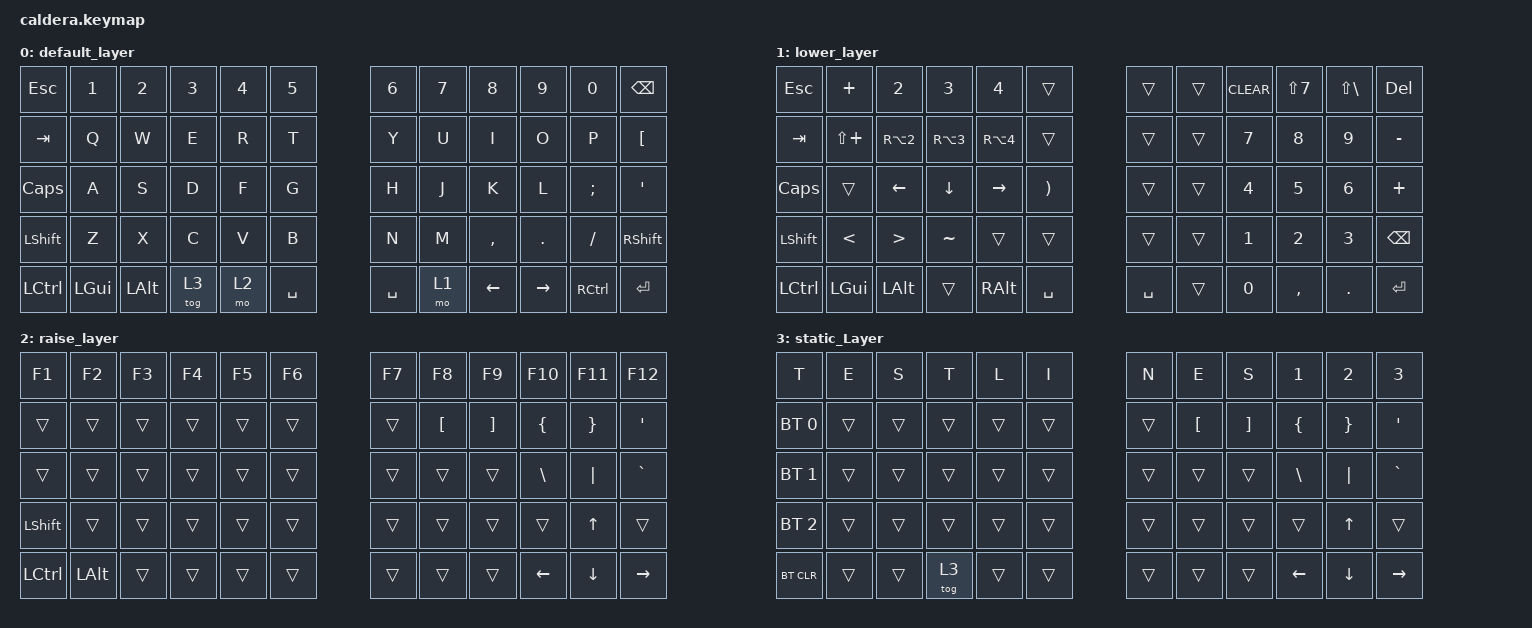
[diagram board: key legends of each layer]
#include <behaviors.dtsi>
#include <dt-bindings/zmk/keys.h>
#include <dt-bindings/zmk/bt.h>

/ {
        keymap {
                compatible = "zmk,keymap";

                default_layer {
// ---------------------------------------------------------------------------------
// |   `  |  1  |  2  |  3  |  4  |  5  |     |  6  |  7  |  8  |  9  |  0  | BKSP |
// |  TAB |  Q  |  W  |  E  |  R  |  T  |     |  Y  |  U  |  I  |  O  |  P  |  \   |
// | CAPS |  A  |  S  |  D  |  F  |  G  |     |  H  |  J  |  K  |  L  |  ;  |  ENT |
// | SHFT |  Z  |  X  |  C  |  V  |  B  |     |  N  |  M  |  ,  |  .  |  /  | APOS |
// | CTRL | GUI | ALT | Lay3| Lay2| SPC |     | SPC | LOW |LARW |DARW |UARW | RARW |
                        bindings = <
   &kp ESC    &kp N1    &kp N2    &kp N3     &kp N4     &kp N5               &kp N6     &kp N7  &kp N8     &kp N9    &kp N0    &kp BSPC
   &kp TAB    &kp Q     &kp W     &kp E      &kp R      &kp T                &kp Y      &kp U   &kp I      &kp O     &kp P     &kp LBKT
   &kp CAPS   &kp A     &kp S     &kp D      &kp F      &kp G                &kp H      &kp J   &kp K      &kp L     &kp SEMI  &kp APOS
   &kp LSHFT  &kp Z     &kp X     &kp C      &kp V      &kp B                &kp N      &kp M   &kp COMMA  &kp DOT   &kp FSLH  &kp RSHFT
   &kp LCTRL  &kp LGUI  &kp LALT  &tog 3     &mo 2      &kp SPACE           &kp SPACE  &mo 1   &kp LEFT   &kp RIGHT &kp RCTRL &kp RET
                        >;
                };
                lower_layer {
// ------------------------------------------------------------------------------------------------------------
// | ESC   |  +    |   2   |   £   |  $    |       |          |      |        | CLEAR |   /   |   *   | DELETE|
// | BT1   |  ?    |   @   |  UP   |       |       |          |      |        |   7   |   8   |   9   |   -   |
// | BT2   |       |  LEFT | DOWN  | RIGHT |       |          |      |        |   4   |   5   |   6   |   +   |
// | BT3   |  <    |   >   |  ~    |       |       |          |      |        |   1   |   2   |   3   | BKSP  |
// | BTCLR |       |       |       |  RALT |  SPC  |          | SPC  | reserv |   0   |   ,   |   .   | Enter |
                        bindings = <
   &kp ESC         &kp PLUS       &kp N2            &kp N3         &kp N4         &trans              &trans    &trans    &kp CLEAR &kp LS(7)   &kp LS(BSLH)  &kp DEL
   &kp TAB         &kp LS(PLUS)   &kp RA(N2)        &kp RA(N3)     &kp RA(N4)     &trans              &trans    &trans    &kp N7    &kp N8      &kp N9        &kp MINUS
   &kp CAPS        &trans         &kp LEFT          &kp DOWN       &kp RIGHT      &kp RPAR            &trans    &trans    &kp N4    &kp N5      &kp N6        &kp PLUS
   &kp LSHFT       &kp LESS_THAN  &kp GREATER_THAN  &kp TILDE      &trans         &trans              &trans    &trans    &kp N1    &kp N2      &kp N3        &kp BSPC
   &kp LCTRL       &kp LGUI       &kp LALT          &trans         &kp RALT       &kp SPACE           &kp SPACE &trans    &kp N0    &kp COMMA   &kp DOT       &kp RET
                        >;
                };
                raise_layer {
// ------------------------------------------------------------------------------------------------------------
// |  F1   |  F2   |  F3   |  F4   |  F5   |  F6   |          |   F7  |    F8 |   F9  |   F10 |  F11  |  F12  |
// | BT1   |       |       |       |       |       |          |       |    [  |   ]   |   {   |    }  |   '   |
// | BT2   |       |       |       |       |       |          |       |       |       |   \   |    |  |   ~   |
// | BT3   |       |       |       |       |       |          |       |       |       |       |   UP  |       | 
// | BTCLR |  ALT  |       |       |       |       |          |       |       |       | LEFT  |  DOWN | RIGHT |
                        bindings = <
   &kp F1         &kp F2   &kp F3   &kp F4      &kp F5    &kp F6                 &kp F7    &kp F8    &kp F9   &kp F10  &kp F11  &kp F12
   &trans         &trans   &trans   &trans      &trans    &trans                 &trans    &kp LBKT  &kp RBKT &kp LBRC &kp RBRC &kp APOS
   &trans         &trans   &trans   &trans      &trans    &trans                 &trans    &trans    &trans   &kp BSLH &kp PIPE &kp GRAVE
   &kp LSHFT      &trans   &trans   &trans      &trans    &trans                 &trans    &trans    &trans   &trans   &kp UP   &trans
   &kp LCTRL      &kp LALT &trans   &trans      &trans    &trans                 &trans    &trans    &trans   &kp LEFT &kp DOWN &kp RIGHT
                        >;
                };
                static_Layer {
// ------------------------------------------------------------------------------------------------------------
// |  t    |  e    |   s   |  t    |  l    |  i    |          |   n   |    e  |   s   |   1   |  2    |  3    |
// |       |       |       |       |       |       |          |       |    [  |   ]   |   {   |    }  |   '   |
// |       |       |       |       |       |       |          |       |       |       |   \   |    |  |   ~   |
// | SHFT  |       |       |       |       |       |          |       |       |       |       |   UP  |       | 
// | CTRL  |  ALT  |       |  Lay3 |       |       |          |       |       |       | LEFT  |  DOWN | RIGHT |
                        bindings = <
   &kp T          &kp E    &kp S    &kp T       &kp L     &kp I                  &kp N     &kp E     &kp S    &kp N1   &kp N2   &kp N3
   &bt BT_SEL 0   &trans   &trans   &trans      &trans    &trans                 &trans    &kp LBKT  &kp RBKT &kp LBRC &kp RBRC &kp APOS
   &bt BT_SEL 1   &trans   &trans   &trans      &trans    &trans                 &trans    &trans    &trans   &kp BSLH &kp PIPE &kp GRAVE
   &bt BT_SEL 2   &trans   &trans   &trans      &trans    &trans                 &trans    &trans    &trans   &trans   &kp UP   &trans
   &bt BT_CLR     &trans   &trans   &tog 3      &trans    &trans                 &trans    &trans    &trans   &kp LEFT &kp DOWN &kp RIGHT
                        >;
                };

        };
};

